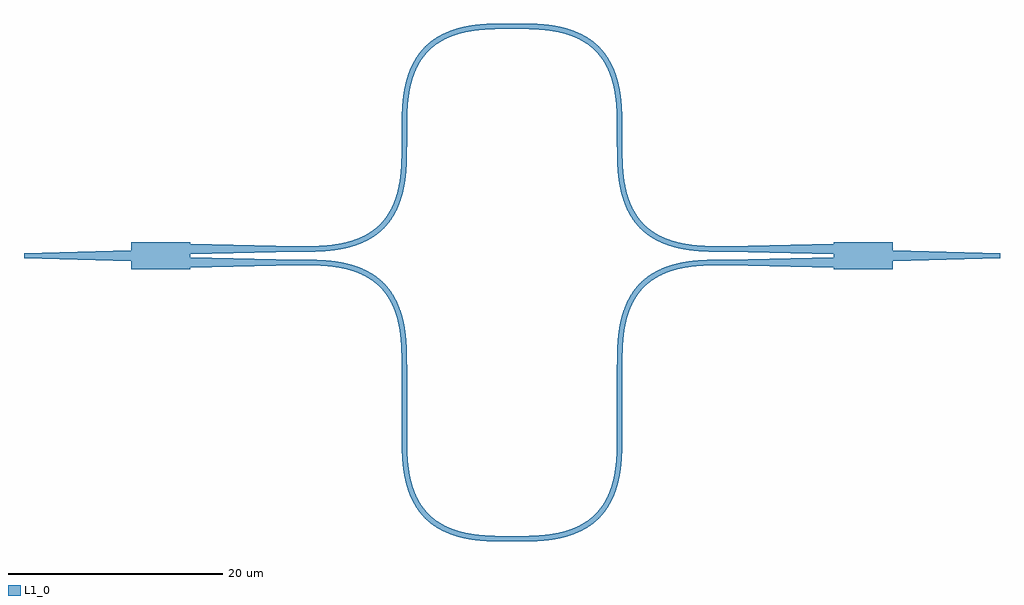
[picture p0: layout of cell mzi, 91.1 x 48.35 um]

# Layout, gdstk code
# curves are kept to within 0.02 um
from math import pi, radians
import gdstk
lib = gdstk.Library(unit=1e-6, precision=1e-09)
def R(c, l, rs):  # rectangles x0, y0, x1, y1
    for r in rs: c.add(gdstk.rectangle(r[:2], r[2:], *l))
def P(c, l, *ps):  # polygons
    for p in ps: c.add(gdstk.Polygon(p, *l))
L1_0 = (1, 0)

mmi1x2 = lib.new_cell('mmi1x2')
R(mmi1x2, L1_0, [(-2.75,-1.25,2.75,1.25)])
P(mmi1x2, L1_0, [(12.75,-0.875),(2.75,-1.125),(2.75,-0.125),(12.75,-0.375)],
  [(12.75,0.375),(2.75,0.125),(2.75,1.125),(12.75,0.875)],
  [(-12.75,0.25),(-2.75,0.5),(-2.75,-0.5),(-12.75,-0.25)])

bend_euler = lib.new_cell('bend_euler')
P(bend_euler, L1_0, [(0,-0.25),(1.602,-0.235),(2.93,-0.158),(3.973,-0.02),(4.865,0.175),(5.829,0.491),(6.664,0.882),(7.404,1.353),(8.073,1.927),(8.647,2.596),(9.118,3.336),(9.509,4.171),(9.825,5.135),(10.02,6.027),(10.158,7.07),(10.235,8.398),(10.25,10),(9.75,10),(9.731,8.272),(9.651,7.025),(9.494,5.933),(9.213,4.826),(8.921,4.063),(8.591,3.419),(8.163,2.785),(7.751,2.313),(7.215,1.837),(6.581,1.409),(5.937,1.079),(5.217,0.801),(4.247,0.542),(2.975,0.349),(1.728,0.269),(0,0.25)])

straight_length800n = lib.new_cell('straight_length800n')
R(straight_length800n, L1_0, [(0,-0.25,0.8,0.25)])

straight_length100n = lib.new_cell('straight_length100n')
R(straight_length100n, L1_0, [(0,-0.25,0.1,0.25)])

mzi_arm_bendbend_euler__ = lib.new_cell('mzi_arm_bendbend_euler__4dd4d8f3')
mzi_arm_bendbend_euler__.add(gdstk.Reference(bend_euler, (0,0)))
mzi_arm_bendbend_euler__.add(gdstk.Reference(straight_length800n, (10,10), rotation=pi/2))
mzi_arm_bendbend_euler__.add(gdstk.Reference(bend_euler, (20,20.8), rotation=pi))
mzi_arm_bendbend_euler__.add(gdstk.Reference(straight_length100n, (20,20.8)))
mzi_arm_bendbend_euler__.add(gdstk.Reference(bend_euler, (30.1,10.8), rotation=pi/2))
mzi_arm_bendbend_euler__.add(gdstk.Reference(straight_length800n, (30.1,10.8), rotation=3*pi/2))
mzi_arm_bendbend_euler__.add(gdstk.Reference(bend_euler, (30.1,10), rotation=3*pi/2))

straight_length5p8 = lib.new_cell('straight_length5p8')
R(straight_length5p8, L1_0, [(0,-0.25,5.8,0.25)])

c_mzi_arm_bendbend_euler__ = lib.new_cell('mzi_arm_bendbend_euler__f75c4604')
c_mzi_arm_bendbend_euler__.add(gdstk.Reference(bend_euler, (0,0)))
c_mzi_arm_bendbend_euler__.add(gdstk.Reference(straight_length5p8, (10,10), rotation=pi/2))
c_mzi_arm_bendbend_euler__.add(gdstk.Reference(bend_euler, (20,25.8), rotation=pi))
c_mzi_arm_bendbend_euler__.add(gdstk.Reference(straight_length100n, (20,25.8)))
c_mzi_arm_bendbend_euler__.add(gdstk.Reference(bend_euler, (30.1,15.8), rotation=pi/2))
c_mzi_arm_bendbend_euler__.add(gdstk.Reference(straight_length5p8, (30.1,15.8), rotation=3*pi/2))
c_mzi_arm_bendbend_euler__.add(gdstk.Reference(bend_euler, (30.1,10), rotation=3*pi/2))

mzi = lib.new_cell('mzi')
mzi.add(gdstk.Reference(mmi1x2, (0,0)))
mzi.add(gdstk.Reference(mmi1x2, (65.6,0), rotation=pi))
mzi.add(gdstk.Reference(mzi_arm_bendbend_euler__, (12.75,0.625)))
mzi.add(gdstk.Reference(c_mzi_arm_bendbend_euler__, (12.75,-0.625), x_reflection=True))

lib.write_gds('mzi.gds')
